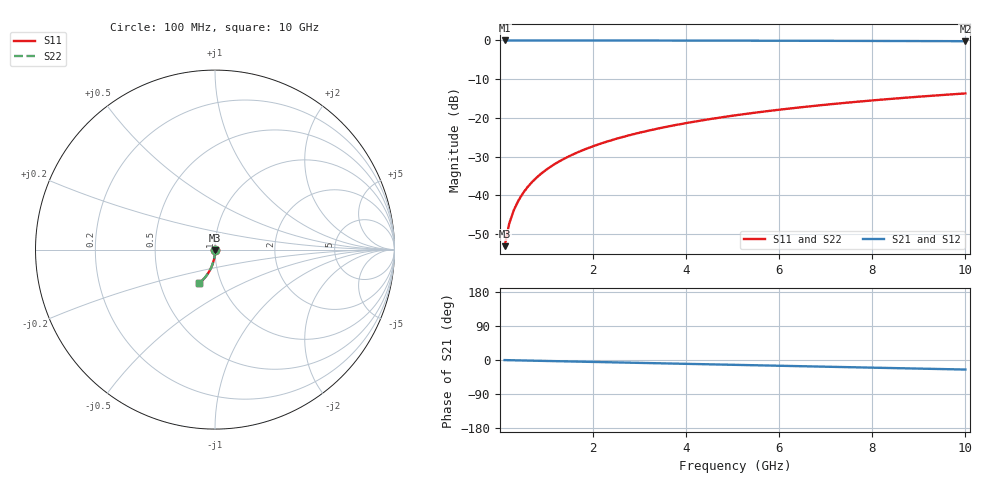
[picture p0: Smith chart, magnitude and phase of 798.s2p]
# Hz S RI R 50.00
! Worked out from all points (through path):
!   100 points, 100 MHz to 10 GHz, reference 50 ohm
!   highest |S21| = 0.00 dB at 100 MHz (marker M1); lowest = -0.2 dB at 10 GHz (marker M2)
!   group delay of S21, straight-line fit = 7 ps
!   lowest |S11| = -53.2 dB at 100 MHz (marker M3), VSWR 1.00, Z = 50 - j0.215 ohm
!   |S11| at or under -10 dB: start of sweep to end of sweep
!   |S22| runs from -53.2 to -13.7 dB; largest |S21 - S12| = 0
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1e8  0.00045 -0.00215  0.9995 -0.00442  0.9995 -0.00442  0.00045 -0.00215
2e8  0.000422 -0.00429  0.9995 -0.00883  0.9995 -0.00883  0.000422 -0.00429
3e8  0.000374 -0.00644  0.9994 -0.0133  0.9994 -0.0133  0.000374 -0.00644
4e8  0.000306 -0.00859  0.9993 -0.0177  0.9993 -0.0177  0.000306 -0.00859
5e8  0.000219 -0.0107  0.9992 -0.0221  0.9992 -0.0221  0.000219 -0.0107
6e8  0.000113 -0.0129  0.9991 -0.0265  0.9991 -0.0265  0.000113 -0.0129
7e8  -1.19e-05 -0.015  0.9989 -0.0309  0.9989 -0.0309  -1.19e-05 -0.015
8e8  -0.000156 -0.0172  0.9987 -0.0353  0.9987 -0.0353  -0.000156 -0.0172
9e8  -0.000319 -0.0193  0.9985 -0.0397  0.9985 -0.0397  -0.000319 -0.0193
1.1e9  -0.000702 -0.0236  0.998 -0.0486  0.998 -0.0486  -0.000702 -0.0236
1.4e9  -0.00142 -0.03  0.9971 -0.0618  0.9971 -0.0618  -0.00142 -0.03
1.8e9  -0.00264 -0.0385  0.9956 -0.0794  0.9956 -0.0794  -0.00264 -0.0385
2.1e9  -0.00375 -0.0449  0.9941 -0.0926  0.9941 -0.0926  -0.00375 -0.0449
2.5e9  -0.0055 -0.0533  0.9919 -0.1101  0.9919 -0.1101  -0.0055 -0.0533
2.9e9  -0.00754 -0.0616  0.9893 -0.1275  0.9893 -0.1275  -0.00754 -0.0616
3.4e9  -0.0105 -0.072  0.9855 -0.1493  0.9855 -0.1493  -0.0105 -0.072
4.2e9  -0.0162 -0.0882  0.9782 -0.1837  0.9782 -0.1837  -0.0162 -0.0882
5.1e9  -0.0239 -0.1059  0.9683 -0.222  0.9683 -0.222  -0.0239 -0.1059
5.9e9  -0.0319 -0.121  0.958 -0.2554  0.958 -0.2554  -0.0319 -0.121
6.7e9  -0.041 -0.1355  0.9463 -0.2882  0.9463 -0.2882  -0.041 -0.1355
8.4e9  -0.0633 -0.1639  0.9171 -0.3557  0.9171 -0.3557  -0.0633 -0.1639
1e10  -0.0877 -0.1871  0.8847 -0.4158  0.8847 -0.4158  -0.0877 -0.1871
